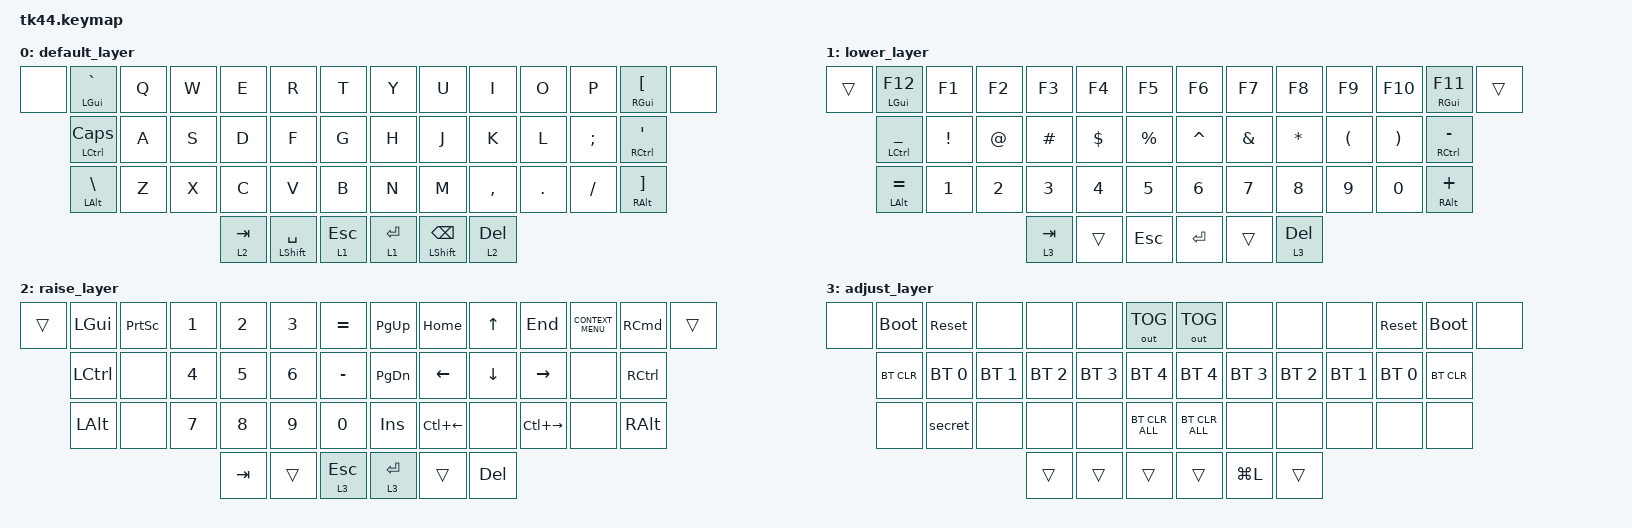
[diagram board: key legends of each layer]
/*
 * Copyright (c) 2020 The ZMK Contributors
 *
 * SPDX-License-Identifier: MIT
 */

#include <behaviors.dtsi>
#include <dt-bindings/zmk/bt.h>
#include <dt-bindings/zmk/keys.h>
#include <dt-bindings/zmk/outputs.h>

#define DEF 0
#define LWR 1
#define RSE 2
#define ADJ 3

&lt { quick-tap-ms = <200>; };

&mt { quick-tap-ms = <200>; };

/ {
    macros {
        secret: secret {
            compatible = "zmk,behavior-macro";
            #binding-cells = <0>;
            bindings = <&none &kp LS(M) &kp A &kp K &kp E &kp SPACE &kp R &kp T &kp SPACE &kp G &kp R &kp E &kp A &kp T &kp SPACE &kp A &kp G &kp A &kp I &kp N &kp EXCL>;
            label = "SECRET";
        };
    };

    keymap {
        compatible = "zmk,keymap";

        default_layer {
            bindings = <
&none  &mt LEFT_GUI GRAVE      &kp Q  &kp W  &kp E      &kp R                 &kp T         &kp Y        &kp U                     &kp I         &kp O    &kp P     &mt RIGHT_GUI LEFT_BRACKET  &none
       &mt LCTRL CAPSLOCK      &kp A  &kp S  &kp D      &kp F                 &kp G         &kp H        &kp J                     &kp K         &kp L    &kp SEMI  &mt RCTRL SQT
       &mt LEFT_ALT BACKSLASH  &kp Z  &kp X  &kp C      &kp V                 &kp B         &kp N        &kp M                     &kp COMMA     &kp DOT  &kp FSLH  &mt RALT RIGHT_BRACKET
                                             &lt 2 TAB  &mt LEFT_SHIFT SPACE  &lt 1 ESCAPE  &lt 1 ENTER  &mt LEFT_SHIFT BACKSPACE  &lt 2 DELETE
            >;
        };

        lower_layer {
            bindings = <
&trans  &mt LEFT_GUI F12      &kp F1           &kp F2       &kp F3     &kp F4        &kp F5       &kp F6     &kp F7         &kp F8        &kp F9                &kp F10                &mt RIGHT_GUI F11   &trans
        &mt LCTRL UNDERSCORE  &kp EXCLAMATION  &kp AT_SIGN  &kp HASH   &kp DOLLAR    &kp PERCENT  &kp CARET  &kp AMPERSAND  &kp ASTERISK  &kp LEFT_PARENTHESIS  &kp RIGHT_PARENTHESIS  &mt RCTRL MINUS
        &mt LALT EQUAL        &kp N1           &kp N2       &kp N3     &kp NUMBER_4  &kp N5       &kp N6     &kp N7         &kp N8        &kp N9                &kp N0                 &mt RIGHT_ALT PLUS
                                                            &lt 3 TAB  &trans        &kp ESCAPE   &kp ENTER  &trans         &lt 3 DELETE
            >;
        };

        raise_layer {
            bindings = <
&trans  &kp LEFT_GUI  &kp PRINTSCREEN  &kp NUMBER_1  &kp NUMBER_2  &kp NUMBER_3  &kp EQUAL     &kp PG_UP    &kp HOME      &kp UP      &kp END        &kp K_CONTEXT_MENU  &kp RIGHT_COMMAND  &trans
        &kp LCTRL     &none            &kp NUMBER_4  &kp NUMBER_5  &kp NUMBER_6  &kp MINUS     &kp PG_DN    &kp LEFT      &kp DOWN    &kp RIGHT      &none               &kp RIGHT_CONTROL
        &kp LALT      &none            &kp NUMBER_7  &kp NUMBER_8  &kp NUMBER_9  &kp NUMBER_0  &kp INS      &kp LC(LEFT)  &none       &kp LC(RIGHT)  &none               &kp RIGHT_ALT
                                                     &kp TAB       &trans        &lt 3 ESC     &lt 3 ENTER  &trans        &kp DELETE
            >;
        };

        adjust_layer {
            bindings = <
&none  &bootloader  &sys_reset    &none         &none         &none         &out OUT_TOG    &out OUT_TOG    &none         &none         &none         &sys_reset    &bootloader  &none
       &bt BT_CLR   &bt BT_SEL 0  &bt BT_SEL 1  &bt BT_SEL 2  &bt BT_SEL 3  &bt BT_SEL 4    &bt BT_SEL 4    &bt BT_SEL 3  &bt BT_SEL 2  &bt BT_SEL 1  &bt BT_SEL 0  &bt BT_CLR
       &none        &secret       &none         &none         &none         &bt BT_CLR_ALL  &bt BT_CLR_ALL  &none         &none         &none         &none         &none
                                                &trans        &trans        &trans          &trans          &kp LG(L)     &trans
            >;
        };
    };
};
